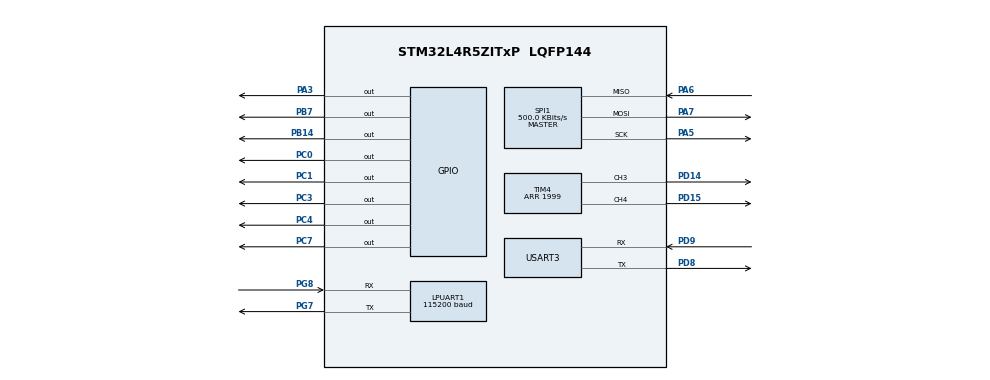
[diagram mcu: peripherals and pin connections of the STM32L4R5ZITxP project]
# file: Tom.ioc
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LPUART1.BaudRate=115200
LPUART1.WordLength=UART_WORDLENGTH_8B
Mcu.Family=STM32L4
Mcu.Name=STM32L4R5ZITxP
Mcu.Package=LQFP144
NVIC.PriorityGroup=NVIC_PRIORITYGROUP_4
NVIC.SPI1_IRQn=true\:0\:0\:false\:false\:true\:true\:true\:true
NVIC.USART3_IRQn=true\:0\:0\:false\:false\:true\:true\:true\:true
PA10.Signal=USB_OTG_FS_ID
PA13\ (JTMS/SWDIO).Signal=SYS_JTMS-SWDIO
PA14\ (JTCK/SWCLK).Signal=SYS_JTCK-SWCLK
PA3.Signal=GPIO_Output
PA5.Mode=Full_Duplex_Master
PA5.Signal=SPI1_SCK
PA6.GPIO_PuPd=GPIO_PULLUP
PA6.Mode=Full_Duplex_Master
PA6.Signal=SPI1_MISO
PA7.Mode=Full_Duplex_Master
PA7.Signal=SPI1_MOSI
PA8.Signal=USB_OTG_FS_SOF
PA9.Signal=USB_OTG_FS_VBUS
PB0.Signal=S_TIM3_CH3
PB1.Signal=ADCx_IN16
PB10.Signal=S_TIM2_CH3
PB12.Signal=SAI2_FS_A
PB13.Signal=SAI2_SCK_A
PB14.Signal=GPIO_Output
PB15.Signal=SAI2_SD_A
PB2.Signal=COMP1_INP
PB3\ (JTDO/TRACESWO).Signal=SPI3_SCK
PB4\ (NJTRST).Signal=SPI3_MISO
PB5.Signal=SPI3_MOSI
PB7.Signal=GPIO_Output
PB8.Signal=I2C1_SCL
PB9.Signal=I2C1_SDA
PC0.Signal=GPIO_Output
PC1.Signal=GPIO_Output
PC10.Signal=SDMMC1_D2
PC11.Signal=SDMMC1_D3
PC12.Signal=SDMMC1_CK
PC13.Signal=SYS_WKUP2
PC14-OSC32_IN\ (PC14).Signal=RCC_OSC32_IN
PC15-OSC32_OUT\ (PC15).Signal=RCC_OSC32_OUT
PC2.Signal=ADCx_IN3
PC3.Signal=GPIO_Output
PC4.Signal=GPIO_Output
PC5.Signal=ADCx_IN14
PC6.Signal=SAI2_MCLK_A
PC7.Signal=GPIO_Output
PC8.Signal=SDMMC1_D0
PC9.Signal=SDMMC1_D1
PD0.Signal=CAN1_RX
PD14.Signal=S_TIM4_CH3
PD15.Signal=S_TIM4_CH4
PD2.Signal=SDMMC1_CMD
PD3.Signal=USART2_CTS
PD4.Signal=USART2_RTS
PD5.Signal=USART2_TX
PD6.Signal=USART2_RX
PD8.Mode=Asynchronous
PD8.Signal=USART3_TX
PD9.Mode=Asynchronous
PD9.Signal=USART3_RX
PE0.Signal=S_TIM4_ETR
PE10.Signal=TIM1_CH2N
PE11.Signal=S_TIM1_CH2
PE12.Signal=TIM1_CH3N
PE13.Signal=S_TIM1_CH3
PE14.Signal=TIM1_BKIN2
PE15.Signal=TIM1_BKIN
PE2.Signal=SAI1_MCLK_A
PE3.Signal=SAI1_SD_B
PE7.Signal=S_TIM1_ETR
PE8.Signal=TIM1_CH1N
PE9.Signal=S_TIM1_CH1
PF0.Signal=I2C2_SDA
PF1.Signal=I2C2_SCL
PF2.Signal=I2C2_SMBA
PF7.Signal=SAI1_MCLK_B
PG7.Mode=Asynchronous
PG7.Signal=LPUART1_TX
PG8.Mode=Asynchronous
PG8.Signal=LPUART1_RX
PH0-OSC_IN\ (PH0).Signal=RCC_OSC_IN
PH1-OSC_OUT\ (PH1).Signal=RCC_OSC_OUT
ProjectManager.HeapSize=0x200
ProjectManager.StackSize=0x400
ProjectManager.TargetToolchain=STM32CubeIDE
RCC.HSE_VALUE=8000000
RCC.HSI48_VALUE=48000000
RCC.HSI_VALUE=16000000
RCC.LSE_VALUE=32768
RCC.MSI_VALUE=4000000
RCC.VCOOutputFreq_Value=32000000
SH.ADCx_IN14.0=ADC1_IN14
SH.ADCx_IN16.0=ADC1_IN16
SH.ADCx_IN3.0=ADC1_IN3
SH.S_TIM1_CH1.0=TIM1_CH1
SH.S_TIM1_CH2.0=TIM1_CH2
SH.S_TIM1_CH3.0=TIM1_CH3
SH.S_TIM1_ETR.0=TIM1_ETR
SH.S_TIM2_CH3.0=TIM2_CH3
SH.S_TIM3_CH3.0=TIM3_CH3
SH.S_TIM4_CH3.0=TIM4_CH3,PWM Generation3 CH3
SH.S_TIM4_CH4.0=TIM4_CH4,PWM Generation4 CH4
SH.S_TIM4_ETR.0=TIM4_ETR
SPI1.BaudRatePrescaler=SPI_BAUDRATEPRESCALER_8
SPI1.CLKPhase=SPI_PHASE_2EDGE
SPI1.CLKPolarity=SPI_POLARITY_HIGH
SPI1.CalculateBaudRate=500.0 KBits/s
SPI1.DataSize=SPI_DATASIZE_8BIT
SPI1.Direction=SPI_DIRECTION_2LINES
SPI1.FirstBit=SPI_FIRSTBIT_LSB
SPI1.Mode=SPI_MODE_MASTER
SPI1.VirtualType=VM_MASTER
TIM4.Channel-PWM\ Generation3\ CH3=TIM_CHANNEL_3
TIM4.Channel-PWM\ Generation4\ CH4=TIM_CHANNEL_4
TIM4.Period=1999
USART3.VirtualMode-Asynchronous=VM_ASYNC
VP_TIM4_VS_ClockSourceINT.Mode=Internal
board=NUCLEO-L4R5ZI-P

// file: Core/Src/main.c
/* USER CODE BEGIN Header */
/**
  ******************************************************************************
  * @file           : main.c
  * @brief          : Main program body
  ******************************************************************************
  * @attention
  *
  * Copyright (c) 2026 STMicroelectronics.
  * All rights reserved.
  *
  * This software is licensed under terms that can be found in the LICENSE file
  * in the root directory of this software component.
  * If no LICENSE file comes with this software, it is provided AS-IS.
  *
  ******************************************************************************
  */
/* USER CODE END Header */
#include "main.h"

/* USER CODE BEGIN Includes */
#include "motors.h"
#include "controller.h"
#include "stdio.h"
#include <string.h>
/* USER CODE END Includes */

/* USER CODE BEGIN PD */
#define SPEED_MAX 2000
#define CMD_FORWARD 'F'
#define CMD_BACKWARD 'B'
#define CMD_LEFT 'L'
#define CMD_RIGHT 'R'
#define CMD_STOP 'S'

/* USER CODE END PD */

UART_HandleTypeDef hlpuart1;
UART_HandleTypeDef huart3;

SPI_HandleTypeDef hspi1;

TIM_HandleTypeDef htim4;

/* USER CODE BEGIN PV */
uint8_t msg[5];
volatile uint8_t cmdReceived = 0;
uint8_t lastCmd;
uint8_t puttyByte;

/* USER CODE END PV */

void SystemClock_Config(void);
static void MX_GPIO_Init(void);
static void MX_TIM4_Init(void);
static void MX_SPI1_Init(void);
static void MX_LPUART1_UART_Init(void);
static void MX_USART3_UART_Init(void);

int main(void)
{

  /* MCU Configuration--------------------------------------------------------*/

  /* Reset of all peripherals, Initializes the Flash interface and the Systick. */
  HAL_Init();

  /* Configure the system clock */
  SystemClock_Config();

  /* Initialize all configured peripherals */
  MX_GPIO_Init();
  MX_TIM4_Init();
  MX_SPI1_Init();
  MX_LPUART1_UART_Init();
  MX_USART3_UART_Init();
  /* USER CODE BEGIN 2 */
  __HAL_UART_CLEAR_FLAG(&huart3, UART_CLEAR_OREF | UART_CLEAR_NEF | UART_CLEAR_FEF);
  HAL_UART_Receive_IT(&huart3, msg, 5);
  Motor_Init();

  /* USER CODE END 2 */

  /* Infinite loop */
  /* USER CODE BEGIN WHILE */
  // CONFIGURE SO NVIC IS ENABLED
  while (1)
  {

	  if(cmdReceived) {
		  cmdReceived = 0;

		  HAL_GPIO_WritePin(GPIOB, GPIO_PIN_7 | GPIO_PIN_14, GPIO_PIN_RESET);
		  HAL_GPIO_WritePin(GPIOC, GPIO_PIN_7, GPIO_PIN_RESET);

		  switch(lastCmd) {
		  	case CMD_FORWARD:
		  		Motor_Forward(SPEED_MAX/2);
		  		HAL_GPIO_WritePin(GPIOB, GPIO_PIN_7, GPIO_PIN_SET);
		  		break;
		  	case CMD_BACKWARD:
		  		Motor_Reverse(SPEED_MAX/2);
		  		HAL_GPIO_WritePin(GPIOB, GPIO_PIN_14, GPIO_PIN_SET);
		  		break;
		  	case CMD_LEFT:
		  		Motor_Left(SPEED_MAX * 0.85);
		  		HAL_GPIO_WritePin(GPIOC, GPIO_PIN_7, GPIO_PIN_SET);
		  		break;
		  	case CMD_RIGHT:
		  		Motor_Right(SPEED_MAX * 0.85);
		  		break;
		  	case CMD_STOP:
		  		Motor_Stop();
		  		break;
		  }
	  }
    /* USER CODE END WHILE */

  }
}

void SystemClock_Config(void)
{
  RCC_OscInitTypeDef RCC_OscInitStruct = {0};
  RCC_ClkInitTypeDef RCC_ClkInitStruct = {0};

  /** Configure the main internal regulator output voltage
  */
  if (HAL_PWREx_ControlVoltageScaling(PWR_REGULATOR_VOLTAGE_SCALE1) != HAL_OK)
  {
    Error_Handler();
  }

  /** Initializes the RCC Oscillators according to the specified parameters
  * in the RCC_OscInitTypeDef structure.
  */
  RCC_OscInitStruct.OscillatorType = RCC_OSCILLATORTYPE_MSI;
  RCC_OscInitStruct.MSIState = RCC_MSI_ON;
  RCC_OscInitStruct.MSICalibrationValue = 0;
  RCC_OscInitStruct.MSIClockRange = RCC_MSIRANGE_6;
  RCC_OscInitStruct.PLL.PLLState = RCC_PLL_NONE;
  if (HAL_RCC_OscConfig(&RCC_OscInitStruct) != HAL_OK)
  {
    Error_Handler();
  }

  /** Initializes the CPU, AHB and APB buses clocks
  */
  RCC_ClkInitStruct.ClockType = RCC_CLOCKTYPE_HCLK|RCC_CLOCKTYPE_SYSCLK
                              |RCC_CLOCKTYPE_PCLK1|RCC_CLOCKTYPE_PCLK2;
  RCC_ClkInitStruct.SYSCLKSource = RCC_SYSCLKSOURCE_MSI;
  RCC_ClkInitStruct.AHBCLKDivider = RCC_SYSCLK_DIV1;
  RCC_ClkInitStruct.APB1CLKDivider = RCC_HCLK_DIV1;
  RCC_ClkInitStruct.APB2CLKDivider = RCC_HCLK_DIV1;

  if (HAL_RCC_ClockConfig(&RCC_ClkInitStruct, FLASH_LATENCY_0) != HAL_OK)
  {
    Error_Handler();
  }
}

static void MX_LPUART1_UART_Init(void)
{

  hlpuart1.Instance = LPUART1;
  hlpuart1.Init.BaudRate = 115200;
  hlpuart1.Init.WordLength = UART_WORDLENGTH_8B;
  hlpuart1.Init.StopBits = UART_STOPBITS_1;
  hlpuart1.Init.Parity = UART_PARITY_NONE;
  hlpuart1.Init.Mode = UART_MODE_TX_RX;
  hlpuart1.Init.HwFlowCtl = UART_HWCONTROL_NONE;
  hlpuart1.Init.OneBitSampling = UART_ONE_BIT_SAMPLE_DISABLE;
  hlpuart1.Init.ClockPrescaler = UART_PRESCALER_DIV1;
  hlpuart1.AdvancedInit.AdvFeatureInit = UART_ADVFEATURE_NO_INIT;
  hlpuart1.FifoMode = UART_FIFOMODE_DISABLE;
  if (HAL_UART_Init(&hlpuart1) != HAL_OK)
  {
    Error_Handler();
  }
  if (HAL_UARTEx_SetTxFifoThreshold(&hlpuart1, UART_TXFIFO_THRESHOLD_1_8) != HAL_OK)
  {
    Error_Handler();
  }
  if (HAL_UARTEx_SetRxFifoThreshold(&hlpuart1, UART_RXFIFO_THRESHOLD_1_8) != HAL_OK)
  {
    Error_Handler();
  }
  if (HAL_UARTEx_DisableFifoMode(&hlpuart1) != HAL_OK)
  {
    Error_Handler();
  }

}

static void MX_USART3_UART_Init(void)
{

  huart3.Instance = USART3;
  huart3.Init.BaudRate = 115200;
  huart3.Init.WordLength = UART_WORDLENGTH_8B;
  huart3.Init.StopBits = UART_STOPBITS_1;
  huart3.Init.Parity = UART_PARITY_NONE;
  huart3.Init.Mode = UART_MODE_TX_RX;
  huart3.Init.HwFlowCtl = UART_HWCONTROL_NONE;
  huart3.Init.OverSampling = UART_OVERSAMPLING_16;
  huart3.Init.OneBitSampling = UART_ONE_BIT_SAMPLE_DISABLE;
  huart3.Init.ClockPrescaler = UART_PRESCALER_DIV1;
  huart3.AdvancedInit.AdvFeatureInit = UART_ADVFEATURE_NO_INIT;
  if (HAL_UART_Init(&huart3) != HAL_OK)
  {
    Error_Handler();
  }
  if (HAL_UARTEx_SetTxFifoThreshold(&huart3, UART_TXFIFO_THRESHOLD_1_8) != HAL_OK)
  {
    Error_Handler();
  }
  if (HAL_UARTEx_SetRxFifoThreshold(&huart3, UART_RXFIFO_THRESHOLD_1_8) != HAL_OK)
  {
    Error_Handler();
  }
  if (HAL_UARTEx_DisableFifoMode(&huart3) != HAL_OK)
  {
    Error_Handler();
  }

}

static void MX_SPI1_Init(void)
{

  /* SPI1 parameter configuration*/
  hspi1.Instance = SPI1;
  hspi1.Init.Mode = SPI_MODE_MASTER;
  hspi1.Init.Direction = SPI_DIRECTION_2LINES;
  hspi1.Init.DataSize = SPI_DATASIZE_8BIT;
  hspi1.Init.CLKPolarity = SPI_POLARITY_HIGH;
  hspi1.Init.CLKPhase = SPI_PHASE_2EDGE;
  hspi1.Init.NSS = SPI_NSS_SOFT;
  hspi1.Init.BaudRatePrescaler = SPI_BAUDRATEPRESCALER_8;
  hspi1.Init.FirstBit = SPI_FIRSTBIT_LSB;
  hspi1.Init.TIMode = SPI_TIMODE_DISABLE;
  hspi1.Init.CRCCalculation = SPI_CRCCALCULATION_DISABLE;
  hspi1.Init.CRCPolynomial = 7;
  hspi1.Init.CRCLength = SPI_CRC_LENGTH_DATASIZE;
  hspi1.Init.NSSPMode = SPI_NSS_PULSE_DISABLE;
  if (HAL_SPI_Init(&hspi1) != HAL_OK)
  {
    Error_Handler();
  }

}

static void MX_TIM4_Init(void)
{

  TIM_ClockConfigTypeDef sClockSourceConfig = {0};
  TIM_MasterConfigTypeDef sMasterConfig = {0};
  TIM_OC_InitTypeDef sConfigOC = {0};

  htim4.Instance = TIM4;
  htim4.Init.Prescaler = 0;
  htim4.Init.CounterMode = TIM_COUNTERMODE_UP;
  htim4.Init.Period = 1999;
  htim4.Init.ClockDivision = TIM_CLOCKDIVISION_DIV1;
  htim4.Init.AutoReloadPreload = TIM_AUTORELOAD_PRELOAD_DISABLE;
  if (HAL_TIM_Base_Init(&htim4) != HAL_OK)
  {
    Error_Handler();
  }
  sClockSourceConfig.ClockSource = TIM_CLOCKSOURCE_INTERNAL;
  if (HAL_TIM_ConfigClockSource(&htim4, &sClockSourceConfig) != HAL_OK)
  {
    Error_Handler();
  }
  if (HAL_TIM_PWM_Init(&htim4) != HAL_OK)
  {
    Error_Handler();
  }
  sMasterConfig.MasterOutputTrigger = TIM_TRGO_RESET;
  sMasterConfig.MasterSlaveMode = TIM_MASTERSLAVEMODE_DISABLE;
  if (HAL_TIMEx_MasterConfigSynchronization(&htim4, &sMasterConfig) != HAL_OK)
  {
    Error_Handler();
  }
  sConfigOC.OCMode = TIM_OCMODE_PWM1;
  sConfigOC.Pulse = 0;
  sConfigOC.OCPolarity = TIM_OCPOLARITY_HIGH;
  sConfigOC.OCFastMode = TIM_OCFAST_DISABLE;
  if (HAL_TIM_PWM_ConfigChannel(&htim4, &sConfigOC, TIM_CHANNEL_3) != HAL_OK)
  {
    Error_Handler();
  }
  if (HAL_TIM_PWM_ConfigChannel(&htim4, &sConfigOC, TIM_CHANNEL_4) != HAL_OK)
  {
    Error_Handler();
  }
  HAL_TIM_MspPostInit(&htim4);

}

static void MX_GPIO_Init(void)
{
  GPIO_InitTypeDef GPIO_InitStruct = {0};

  /* GPIO Ports Clock Enable */
  __HAL_RCC_GPIOE_CLK_ENABLE();
  __HAL_RCC_GPIOC_CLK_ENABLE();
  __HAL_RCC_GPIOF_CLK_ENABLE();
  __HAL_RCC_GPIOH_CLK_ENABLE();
  __HAL_RCC_GPIOA_CLK_ENABLE();
  __HAL_RCC_GPIOB_CLK_ENABLE();
  __HAL_RCC_GPIOD_CLK_ENABLE();
  __HAL_RCC_GPIOG_CLK_ENABLE();
  HAL_PWREx_EnableVddIO2();

  /*Configure GPIO pin Output Level */
  HAL_GPIO_WritePin(GPIOC, GPIO_PIN_0|GPIO_PIN_1|GPIO_PIN_3|GPIO_PIN_4
                          |GPIO_PIN_7, GPIO_PIN_RESET);

  /*Configure GPIO pin Output Level */
  HAL_GPIO_WritePin(GPIOA, GPIO_PIN_3, GPIO_PIN_RESET);

  /*Configure GPIO pin Output Level */
  HAL_GPIO_WritePin(GPIOB, GPIO_PIN_14|GPIO_PIN_7, GPIO_PIN_RESET);

  /*Configure GPIO pins : PE2 PE3 */
  GPIO_InitStruct.Pin = GPIO_PIN_2|GPIO_PIN_3;
  GPIO_InitStruct.Mode = GPIO_MODE_AF_PP;
  GPIO_InitStruct.Pull = GPIO_NOPULL;
  GPIO_InitStruct.Speed = GPIO_SPEED_FREQ_LOW;
  GPIO_InitStruct.Alternate = GPIO_AF13_SAI1;
  HAL_GPIO_Init(GPIOE, &GPIO_InitStruct);

  /*Configure GPIO pins : PF0 PF1 PF2 */
  GPIO_InitStruct.Pin = GPIO_PIN_0|GPIO_PIN_1|GPIO_PIN_2;
  GPIO_InitStruct.Mode = GPIO_MODE_AF_OD;
  GPIO_InitStruct.Pull = GPIO_NOPULL;
  GPIO_InitStruct.Speed = GPIO_SPEED_FREQ_VERY_HIGH;
  GPIO_InitStruct.Alternate = GPIO_AF4_I2C2;
  HAL_GPIO_Init(GPIOF, &GPIO_InitStruct);

  /*Configure GPIO pin : PF7 */
  GPIO_InitStruct.Pin = GPIO_PIN_7;
  GPIO_InitStruct.Mode = GPIO_MODE_AF_PP;
  GPIO_InitStruct.Pull = GPIO_NOPULL;
  GPIO_InitStruct.Speed = GPIO_SPEED_FREQ_LOW;
  GPIO_InitStruct.Alternate = GPIO_AF13_SAI1;
  HAL_GPIO_Init(GPIOF, &GPIO_InitStruct);

  /*Configure GPIO pins : PC0 PC1 PC3 PC4
                           PC7 */
  GPIO_InitStruct.Pin = GPIO_PIN_0|GPIO_PIN_1|GPIO_PIN_3|GPIO_PIN_4
                          |GPIO_PIN_7;
  GPIO_InitStruct.Mode = GPIO_MODE_OUTPUT_PP;
  GPIO_InitStruct.Pull = GPIO_NOPULL;
  GPIO_InitStruct.Speed = GPIO_SPEED_FREQ_LOW;
  HAL_GPIO_Init(GPIOC, &GPIO_InitStruct);

  /*Configure GPIO pins : PC2 PC5 */
  GPIO_InitStruct.Pin = GPIO_PIN_2|GPIO_PIN_5;
  GPIO_InitStruct.Mode = GPIO_MODE_ANALOG_ADC_CONTROL;
  GPIO_InitStruct.Pull = GPIO_NOPULL;
  HAL_GPIO_Init(GPIOC, &GPIO_InitStruct);

  /*Configure GPIO pin : PA3 */
  GPIO_InitStruct.Pin = GPIO_PIN_3;
  GPIO_InitStruct.Mode = GPIO_MODE_OUTPUT_PP;
  GPIO_InitStruct.Pull = GPIO_NOPULL;
  GPIO_InitStruct.Speed = GPIO_SPEED_FREQ_LOW;
  HAL_GPIO_Init(GPIOA, &GPIO_InitStruct);

  /*Configure GPIO pin : PB0 */
  GPIO_InitStruct.Pin = GPIO_PIN_0;
  GPIO_InitStruct.Mode = GPIO_MODE_AF_PP;
  GPIO_InitStruct.Pull = GPIO_NOPULL;
  GPIO_InitStruct.Speed = GPIO_SPEED_FREQ_LOW;
  GPIO_InitStruct.Alternate = GPIO_AF2_TIM3;
  HAL_GPIO_Init(GPIOB, &GPIO_InitStruct);

  /*Configure GPIO pin : PB1 */
  GPIO_InitStruct.Pin = GPIO_PIN_1;
  GPIO_InitStruct.Mode = GPIO_MODE_ANALOG_ADC_CONTROL;
  GPIO_InitStruct.Pull = GPIO_NOPULL;
  HAL_GPIO_Init(GPIOB, &GPIO_InitStruct);

  /*Configure GPIO pin : PB2 */
  GPIO_InitStruct.Pin = GPIO_PIN_2;
  GPIO_InitStruct.Mode = GPIO_MODE_ANALOG;
  GPIO_InitStruct.Pull = GPIO_NOPULL;
  HAL_GPIO_Init(GPIOB, &GPIO_InitStruct);

  /*Configure GPIO pins : PE7 PE8 PE9 PE10
                           PE11 PE12 PE13 */
  GPIO_InitStruct.Pin = GPIO_PIN_7|GPIO_PIN_8|GPIO_PIN_9|GPIO_PIN_10
                          |GPIO_PIN_11|GPIO_PIN_12|GPIO_PIN_13;
  GPIO_InitStruct.Mode = GPIO_MODE_AF_PP;
  GPIO_InitStruct.Pull = GPIO_NOPULL;
  GPIO_InitStruct.Speed = GPIO_SPEED_FREQ_LOW;
  GPIO_InitStruct.Alternate = GPIO_AF1_TIM1;
  HAL_GPIO_Init(GPIOE, &GPIO_InitStruct);

  /*Configure GPIO pins : PE14 PE15 */
  GPIO_InitStruct.Pin = GPIO_PIN_14|GPIO_PIN_15;
  GPIO_InitStruct.Mode = GPIO_MODE_AF_PP;
  GPIO_InitStruct.Pull = GPIO_NOPULL;
  GPIO_InitStruct.Speed = GPIO_SPEED_FREQ_LOW;
  GPIO_InitStruct.Alternate = GPIO_AF3_TIM1_COMP1;
  HAL_GPIO_Init(GPIOE, &GPIO_InitStruct);

  /*Configure GPIO pin : PB10 */
  GPIO_InitStruct.Pin = GPIO_PIN_10;
  GPIO_InitStruct.Mode = GPIO_MODE_AF_PP;
  GPIO_InitStruct.Pull = GPIO_NOPULL;
  GPIO_InitStruct.Speed = GPIO_SPEED_FREQ_LOW;
  GPIO_InitStruct.Alternate = GPIO_AF1_TIM2;
  HAL_GPIO_Init(GPIOB, &GPIO_InitStruct);

  /*Configure GPIO pins : PB12 PB13 PB15 */
  GPIO_InitStruct.Pin = GPIO_PIN_12|GPIO_PIN_13|GPIO_PIN_15;
  GPIO_InitStruct.Mode = GPIO_MODE_AF_PP;
  GPIO_InitStruct.Pull = GPIO_NOPULL;
  GPIO_InitStruct.Speed = GPIO_SPEED_FREQ_LOW;
  GPIO_InitStruct.Alternate = GPIO_AF13_SAI2;
  HAL_GPIO_Init(GPIOB, &GPIO_InitStruct);

  /*Configure GPIO pins : PB14 PB7 */
  GPIO_InitStruct.Pin = GPIO_PIN_14|GPIO_PIN_7;
  GPIO_InitStruct.Mode = GPIO_MODE_OUTPUT_PP;
  GPIO_InitStruct.Pull = GPIO_NOPULL;
  GPIO_InitStruct.Speed = GPIO_SPEED_FREQ_LOW;
  HAL_GPIO_Init(GPIOB, &GPIO_InitStruct);

  /*Configure GPIO pin : PC6 */
  GPIO_InitStruct.Pin = GPIO_PIN_6;
  GPIO_InitStruct.Mode = GPIO_MODE_AF_PP;
  GPIO_InitStruct.Pull = GPIO_NOPULL;
  GPIO_InitStruct.Speed = GPIO_SPEED_FREQ_LOW;
  GPIO_InitStruct.Alternate = GPIO_AF13_SAI2;
  HAL_GPIO_Init(GPIOC, &GPIO_InitStruct);

  /*Configure GPIO pins : PC8 PC9 PC10 PC11
                           PC12 */
  GPIO_InitStruct.Pin = GPIO_PIN_8|GPIO_PIN_9|GPIO_PIN_10|GPIO_PIN_11
                          |GPIO_PIN_12;
  GPIO_InitStruct.Mode = GPIO_MODE_AF_PP;
  GPIO_InitStruct.Pull = GPIO_NOPULL;
  GPIO_InitStruct.Speed = GPIO_SPEED_FREQ_VERY_HIGH;
  GPIO_InitStruct.Alternate = GPIO_AF12_SDMMC1;
  HAL_GPIO_Init(GPIOC, &GPIO_InitStruct);

  /*Configure GPIO pins : PA8 PA10 */
  GPIO_InitStruct.Pin = GPIO_PIN_8|GPIO_PIN_10;
  GPIO_InitStruct.Mode = GPIO_MODE_AF_PP;
  GPIO_InitStruct.Pull = GPIO_NOPULL;
  GPIO_InitStruct.Speed = GPIO_SPEED_FREQ_VERY_HIGH;
  GPIO_InitStruct.Alternate = GPIO_AF10_OTG_FS;
  HAL_GPIO_Init(GPIOA, &GPIO_InitStruct);

  /*Configure GPIO pin : PA9 */
  GPIO_InitStruct.Pin = GPIO_PIN_9;
  GPIO_InitStruct.Mode = GPIO_MODE_INPUT;
  GPIO_InitStruct.Pull = GPIO_NOPULL;
  HAL_GPIO_Init(GPIOA, &GPIO_InitStruct);

  /*Configure GPIO pin : PD0 */
  GPIO_InitStruct.Pin = GPIO_PIN_0;
  GPIO_InitStruct.Mode = GPIO_MODE_AF_PP;
  GPIO_InitStruct.Pull = GPIO_NOPULL;
  GPIO_InitStruct.Speed = GPIO_SPEED_FREQ_VERY_HIGH;
  GPIO_InitStruct.Alternate = GPIO_AF9_CAN1;
  HAL_GPIO_Init(GPIOD, &GPIO_InitStruct);

  /*Configure GPIO pin : PD2 */
  GPIO_InitStruct.Pin = GPIO_PIN_2;
  GPIO_InitStruct.Mode = GPIO_MODE_AF_PP;
  GPIO_InitStruct.Pull = GPIO_NOPULL;
  GPIO_InitStruct.Speed = GPIO_SPEED_FREQ_VERY_HIGH;
  GPIO_InitStruct.Alternate = GPIO_AF12_SDMMC1;
  HAL_GPIO_Init(GPIOD, &GPIO_InitStruct);

  /*Configure GPIO pins : PD3 PD4 PD5 PD6 */
  GPIO_InitStruct.Pin = GPIO_PIN_3|GPIO_PIN_4|GPIO_PIN_5|GPIO_PIN_6;
  GPIO_InitStruct.Mode = GPIO_MODE_AF_PP;
  GPIO_InitStruct.Pull = GPIO_NOPULL;
  GPIO_InitStruct.Speed = GPIO_SPEED_FREQ_VERY_HIGH;
  GPIO_InitStruct.Alternate = GPIO_AF7_USART2;
  HAL_GPIO_Init(GPIOD, &GPIO_InitStruct);

  /*Configure GPIO pins : PB3 PB4 PB5 */
  GPIO_InitStruct.Pin = GPIO_PIN_3|GPIO_PIN_4|GPIO_PIN_5;
  GPIO_InitStruct.Mode = GPIO_MODE_AF_PP;
  GPIO_InitStruct.Pull = GPIO_NOPULL;
  GPIO_InitStruct.Speed = GPIO_SPEED_FREQ_VERY_HIGH;
  GPIO_InitStruct.Alternate = GPIO_AF6_SPI3;
  HAL_GPIO_Init(GPIOB, &GPIO_InitStruct);

  /*Configure GPIO pins : PB8 PB9 */
  GPIO_InitStruct.Pin = GPIO_PIN_8|GPIO_PIN_9;
  GPIO_InitStruct.Mode = GPIO_MODE_AF_OD;
  GPIO_InitStruct.Pull = GPIO_NOPULL;
  GPIO_InitStruct.Speed = GPIO_SPEED_FREQ_VERY_HIGH;
  GPIO_InitStruct.Alternate = GPIO_AF4_I2C1;
  HAL_GPIO_Init(GPIOB, &GPIO_InitStruct);

}

/* USER CODE BEGIN 4 */
#ifdef __GNUC__
#define PUTCHAR_PROTOTYPE int __io_putchar(int ch)
#else
  #define PUTCHAR_PROTOTYPE int fputc(int ch, FILE *f)
#endif /* __GNUC__ */
PUTCHAR_PROTOTYPE
{
  HAL_UART_Transmit(&hlpuart1, (uint8_t *)&ch, 1, 0xFFFF);
  return ch;
}

void HAL_UART_RxCpltCallback(UART_HandleTypeDef *huart) {
	uint8_t isTom = msg[0] == 'T' && msg[1] == 'o' && msg[2] == 'm';
    if (huart->Instance == USART3 && isTom) { // Ensure it's the ESP UART
        lastCmd = msg[4];
        cmdReceived = 1;
    }
    __HAL_UART_CLEAR_FLAG(&huart3, UART_CLEAR_OREF | UART_CLEAR_NEF | UART_CLEAR_FEF);
    HAL_UART_Receive_IT(&huart3, msg, 5);
}

void HAL_UART_ErrorCallback(UART_HandleTypeDef *huart) {
    if (huart->Instance == USART3) {
        __HAL_UART_CLEAR_FLAG(&huart3, UART_CLEAR_OREF | UART_CLEAR_NEF | UART_CLEAR_FEF | UART_CLEAR_PEF);
        __HAL_UART_CLEAR_OREFLAG(&huart3);
        HAL_UART_AbortReceive(&huart3);
        HAL_UART_Receive_IT(&huart3, msg, 5);
    }
}
/* USER CODE END 4 */

void Error_Handler(void)
{
  __disable_irq();
  while (1)
  {
  }
}
